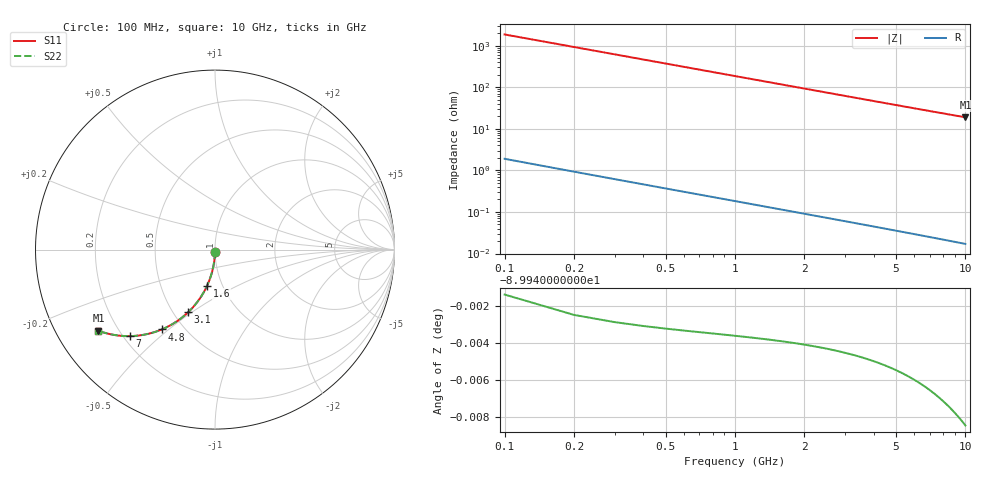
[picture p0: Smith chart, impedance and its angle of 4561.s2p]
# Hz S RI R 50.00
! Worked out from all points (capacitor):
!   100 points, 100 MHz to 10 GHz, reference 50 ohm
!   read as one part in shunt: C = 857 fF near 100 MHz
!   lowest |Z| = 18.9 ohm at 10 GHz (marker M1)
!   S11 on the Smith chart (normalised r, x): 100 MHz: 1.00, -0.03; 1.6 GHz: 0.85, -0.36; 3.1 GHz: 0.59, -0.48; 4.8 GHz: 0.38, -0.47; 7 GHz: 0.23, -0.40; 10 GHz: 0.13, -0.31
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1e8  -0.000132 -0.0132  0.9997 -0.0137  0.9997 -0.0137  -0.000132 -0.0132
2e8  -0.000687 -0.0264  0.9992 -0.0274  0.9992 -0.0274  -0.000687 -0.0264
3e8  -0.0016 -0.0396  0.9983 -0.041  0.9983 -0.041  -0.0016 -0.0396
4e8  -0.00288 -0.0527  0.997 -0.0546  0.997 -0.0546  -0.00288 -0.0527
5e8  -0.00451 -0.0658  0.9954 -0.0682  0.9954 -0.0682  -0.00451 -0.0658
6e8  -0.00649 -0.0788  0.9934 -0.0816  0.9934 -0.0816  -0.00649 -0.0788
7e8  -0.00882 -0.0917  0.991 -0.095  0.991 -0.095  -0.00882 -0.0917
9e8  -0.0145 -0.1172  0.9854 -0.1215  0.9854 -0.1215  -0.0145 -0.1172
1.2e9  -0.0255 -0.1545  0.9743 -0.1602  0.9743 -0.1602  -0.0255 -0.1545
1.6e9  -0.0445 -0.202  0.9554 -0.2096  0.9554 -0.2096  -0.0445 -0.202
1.8e9  -0.0556 -0.2246  0.9442 -0.2331  0.9442 -0.2331  -0.0556 -0.2246
2.4e9  -0.0948 -0.2869  0.905 -0.2982  0.905 -0.2982  -0.0948 -0.2869
3.1e9  -0.1488 -0.3482  0.851 -0.3628  0.851 -0.3628  -0.1488 -0.3482
3.4e9  -0.1738 -0.3705  0.826 -0.3866  0.826 -0.3866  -0.1738 -0.3705
4.1e9  -0.2344 -0.4135  0.7653 -0.433  0.7653 -0.433  -0.2344 -0.4135
4.8e9  -0.2959 -0.4446  0.7037 -0.4675  0.7037 -0.4675  -0.2959 -0.4446
5.1e9  -0.3219 -0.4546  0.6777 -0.4789  0.6777 -0.4789  -0.3219 -0.4546
5.9e9  -0.3889 -0.4729  0.6106 -0.5012  0.6106 -0.5012  -0.3889 -0.4729
6.7e9  -0.4513 -0.4811  0.5481 -0.5132  0.5481 -0.5132  -0.4513 -0.4811
7e9  -0.4733 -0.482  0.526 -0.5156  0.526 -0.5156  -0.4733 -0.482
8.4e9  -0.5651 -0.4749  0.4339 -0.5155  0.4339 -0.5155  -0.5651 -0.4749
1e10  -0.6493 -0.4521  0.3493 -0.5008  0.3493 -0.5008  -0.6493 -0.4521
